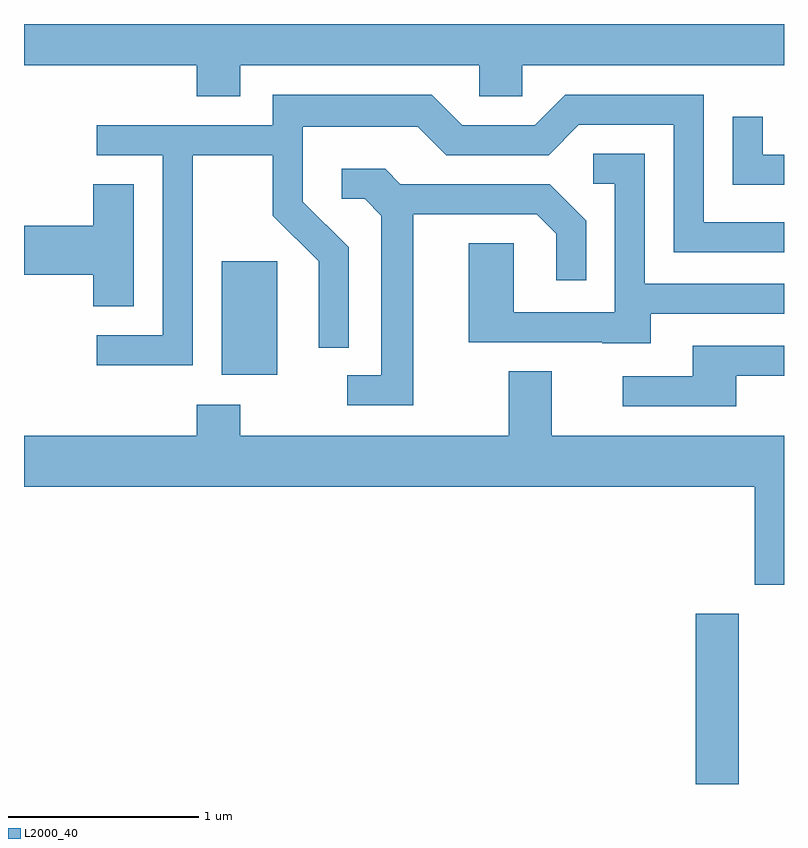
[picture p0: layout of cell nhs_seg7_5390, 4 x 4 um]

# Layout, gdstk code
import gdstk
lib = gdstk.Library(unit=1e-6, precision=1e-09)
def R(c, l, rs):  # rectangles x0, y0, x1, y1
    for r in rs: c.add(gdstk.rectangle(r[:2], r[2:], *l))
def P(c, l, *ps):  # polygons
    for p in ps: c.add(gdstk.Polygon(p, *l))
L2000_40 = (2000, 40)

nhs_seg7_5390 = lib.new_cell('nhs_seg7_5390')
R(nhs_seg7_5390, L2000_40, [(353.146,1768.252,353.374,1769.149), (350.651,1770.406,350.944,1771.004)])
P(nhs_seg7_5390, L2000_40, [(349.611,1772.036),(350.521,1772.036),(350.521,1771.871),(350.749,1771.871),(350.749,1772.036),(352.006,1772.036),(352.006,1771.871),(352.234,1771.871),(352.234,1772.036),(353.611,1772.036),(353.611,1772.252),(349.611,1772.252)],
  [(350.499,1771.561),(350.921,1771.561),(350.921,1771.244),(351.161,1771.004),(351.161,1770.548),(351.319,1770.548),(351.319,1771.077),(351.079,1771.317),(351.079,1771.711),(351.684,1771.711),(351.834,1771.561),(352.372,1771.561),(352.532,1771.721),(353.031,1771.721),(353.031,1771.051),(353.611,1771.051),(353.611,1771.209),(353.189,1771.209),(353.189,1771.879),(352.459,1771.879),(352.299,1771.719),(351.917,1771.719),(351.757,1771.879),(350.921,1771.879),(350.921,1771.719),(349.993,1771.719),(349.993,1771.561),(350.341,1771.561),(350.341,1770.614),(349.993,1770.614),(349.993,1770.456),(350.499,1770.456)],
  [(353.611,1771.564),(353.499,1771.564),(353.499,1771.763),(353.341,1771.763),(353.341,1771.406),(353.611,1771.406)],
  [(352.909,1770.726),(353.611,1770.726),(353.611,1770.884),(352.879,1770.884),(352.879,1771.569),(352.608,1771.569),(352.608,1771.411),(352.721,1771.411),(352.721,1770.734),(352.189,1770.734),(352.189,1771.099),(351.951,1771.099),(351.951,1770.576),(352.655,1770.576),(352.655,1770.571),(352.909,1770.571)],
  [(351.659,1771.251),(352.309,1771.251),(352.411,1771.149),(352.411,1770.903),(352.569,1770.903),(352.569,1771.217),(352.377,1771.409),(351.592,1771.409),(351.512,1771.489),(351.283,1771.489),(351.283,1771.331),(351.404,1771.331),(351.491,1771.244),(351.491,1770.404),(351.313,1770.404),(351.313,1770.246),(351.659,1770.246)],
  [(350.189,1771.409),(349.976,1771.409),(349.976,1771.189),(349.611,1771.189),(349.611,1770.931),(349.976,1770.931),(349.976,1770.766),(350.189,1770.766)],
  [(353.359,1770.401),(353.611,1770.401),(353.611,1770.559),(353.131,1770.559),(353.131,1770.399),(352.763,1770.399),(352.763,1770.241),(353.359,1770.241)],
  [(353.611,1770.084),(352.389,1770.084),(352.389,1770.424),(352.161,1770.424),(352.161,1770.084),(350.749,1770.084),(350.749,1770.249),(350.521,1770.249),(350.521,1770.084),(349.611,1770.084),(349.611,1769.816),(353.456,1769.816),(353.456,1769.301),(353.611,1769.301)])

lib.write_gds('nhs_seg7_5390.gds')
